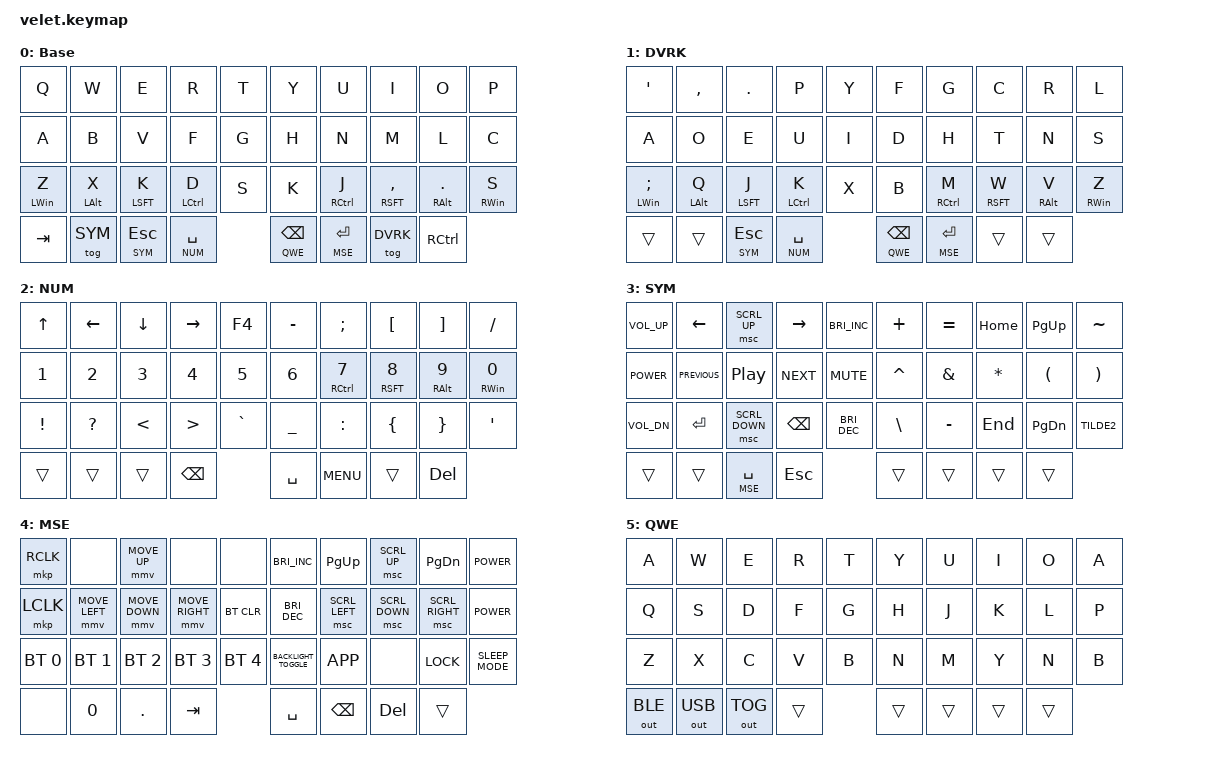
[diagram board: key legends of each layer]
/*
 * Copyright (c) 2020 The ZMK Contributors
 *
 * SPDX-License-Identifier: MIT
 */

#include <behaviors/mouse_keys.dtsi>
#include <behaviors.dtsi>
#include <dt-bindings/zmk/bt.h>
#include <dt-bindings/zmk/keys.h>
#include <dt-bindings/zmk/mouse.h>
#include <dt-bindings/zmk/outputs.h>

&mt {
    tapping-term-ms = <200>;
    flavor = "tap-preferred";
};

&sk {
    release-after-ms = <2000>;
    quick-release;
};

/ {
    combos {
        compatible = "zmk,combos";


        pu {
            bindings = <&kp PG_UP>;
            key-positions = <21 22>;
        };

        pd {
            bindings = <&kp PAGE_DOWN>;
            key-positions = <20 21>;
        };
    };

    behaviors {
        hm: homerow_mods {
            compatible = "zmk,behavior-hold-tap";
            label = "HOMEROW_MODS";
            #binding-cells = <2>;
            tapping-term-ms = <200>;
            quick_tap_ms = <0>;
            flavor = "tap-preferred";
            bindings = <&kp>, <&kp>;

            quick-tap-ms = <180>;
            global-quick-tap;
        };

        ltq: ltq {
            compatible = "zmk,behavior-hold-tap";
            label = "LTQ";
            bindings = <&mo>, <&kp>;

            #binding-cells = <2>;
            tapping-term-ms = <200>;
            quick-tap-ms = <180>;
        };

        as: as {
            compatible = "zmk,behavior-hold-tap";
            label = "AUTO_SHIFT";
            bindings = <&kp>, <&kp>;

            #binding-cells = <2>;
            tapping-term-ms = <135>;
            quick-tap-ms = <0>;
            flavor = "tap-preferred";
        };
    };

    macros {
        new_macro: new_macro {
            compatible = "zmk,behavior-macro";
            #binding-cells = <0>;
            bindings = <&kp LS(C) &kp H &kp L &kp DOT &kp N8 &kp N8 &kp N0 &kp N6 &kp N0 &kp N2 &kp EXCL &kp AT &kp POUND &kp DLLR &kp PRCNT &kp ENTER>;
            label = "NEW_MACRO";
        };
    };


#define DEFAULT 0
#define DVRK    1
#define NUM     2
#define SYM     3
#define MSE     4
#define QWE     5


keymap {
        compatible = "zmk,keymap";

        BASE {
            bindings = <
    &kp Q         &kp W        &kp E        &kp R        &kp T         &kp Y    &kp U       &kp I            &kp O         &kp P
    &kp A         &kp B        &kp V        &kp F        &kp G         &kp H    &kp N       &kp M            &kp L         &kp C
    &mt LWIN Z    &mt LALT X   &mt LSFT K   &mt LCTL D   &kp S         &kp K    &mt RCTL J  &mt RSFT COMMA   &mt RALT DOT  &mt RWIN S
         &kp TAB     &tog SYM  &lt SYM ESC  &lt NUM SPACE            &lt QWE BSPC  &lt MSE RET &tog DVRK &kp RCTL
            >;

            label = "Base";
        };

		dvorak_layer {
			bindings = <
        &kp SINGLE_QUOTE     &kp COMMA       &kp DOT        &kp P       &kp Y          &kp F    &kp G         &kp C        &kp R       &kp L
        &kp A                &kp O           &kp E          &kp U       &kp I          &kp D    &kp H         &kp T        &kp N       &kp S 
 	    &mt LWIN SEMI        &mt LALT Q      &mt LSFT J     &mt LCTL K  &kp X          &kp B    &mt RCTL M    &mt RSFT W   &mt RALT V  &mt RWIN Z 
              &trans    &trans   &lt SYM ESC  &lt NUM SPACE               &lt QWE BSPC  &lt MSE RET &trans &trans
        >;
     label = "DVRK";
        };
        NUMBER {
            bindings = <            
                &kp UP  &kp LEFT  &kp DOWN   &kp RIGHT   &kp F4      &kp MINUS    &kp SEMI  &kp LEFT_BRACKET  &kp RIGHT_BRACKET  &kp SLASH
                &kp N1  &kp N2  &kp N3  &kp N4  &kp N5                &kp N6   &mt RCTL N7  &mt RSFT N8  &mt RALT N9  &mt RWIN N0
                &kp EXCLAMATION  &kp QUESTION  &kp LESS_THAN   &kp GREATER_THAN   &kp GRAVE     &kp UNDERSCORE   &kp COLON  &kp LEFT_BRACE  &kp RIGHT_BRACE  &kp SINGLE_QUOTE
           &trans      &trans      &trans  &kp BSPC           &kp SPACE  &kp C_MENU      &trans  &kp DELETE
            >;

            label = "NUM";
        };

        ICON {
            bindings = <      
                &kp C_VOL_UP    &kp LEFT       &msc SCRL_UP         &kp RIGHT   &kp C_BRIGHTNESS_INC      &kp PLUS  &kp EQUAL  &kp HOME  &kp PAGE_UP  &kp TILDE
                &kp C_POWER   &kp C_PREVIOUS &kp C_PLAY_PAUSE  &kp C_NEXT  &kp C_MUTE                &kp CARET &kp AMPS &kp STAR &kp LPAR &kp RPAR
                &kp C_VOL_DN   &kp RET         &msc SCRL_DOWN          &kp BSPC    &kp C_BRIGHTNESS_DEC       &kp BACKSLASH  &kp MINUS   &kp END  &kp PAGE_DOWN  &kp TILDE2  
               &trans         &trans     &lt MSE SPACE  &kp ESC         &trans        &trans        &trans         &trans
            >;

            label = "SYM";
        };

        LEFTPAD {
            bindings = <
          &mkp RCLK  &none   &mmv MOVE_UP   &none   &none          &kp C_BRIGHTNESS_INC  &kp PAGE_UP   &msc SCRL_UP  &kp PAGE_DOWN    &kp C_POWER
                &mkp LCLK  &mmv MOVE_LEFT  &mmv MOVE_DOWN    &mmv MOVE_RIGHT   &bt BT_CLR                 &kp C_BRIGHTNESS_DEC  &msc SCRL_LEFT  &msc SCRL_DOWN   &msc SCRL_RIGHT  &kp K_POWER
                &bt BT_SEL 0 &bt BT_SEL 1 &bt BT_SEL 2 &bt BT_SEL 3 &bt BT_SEL 4      &kp C_BACKLIGHT_TOGGLE  &kp K_APP      &none       &kp K_LOCK       &kp C_SLEEP_MODE
          &none            &kp N0  &kp PERIOD  &kp TAB  &kp SPACE      &kp BSPC    &kp DELETE  &trans
            >;

            label = "MSE";
        };

        BLUETOOTH {
            bindings = <
	&kp A     &kp W      &kp E      &kp R      &kp T         &kp Y    &kp U      &kp I      &kp O      &kp A
             		&kp Q &kp S &kp D &kp F &kp G         &kp H    &kp J &kp K &kp L &kp P 
                &kp Z     &kp X      &kp C      &kp V  &kp B         &kp N    &kp M  &kp Y &kp N &kp B
               &out OUT_BLE    &out OUT_USB   &out OUT_TOG   &trans         &trans       &trans  &trans  &trans
            >;

            label = "QWE";
        };


    };
};
